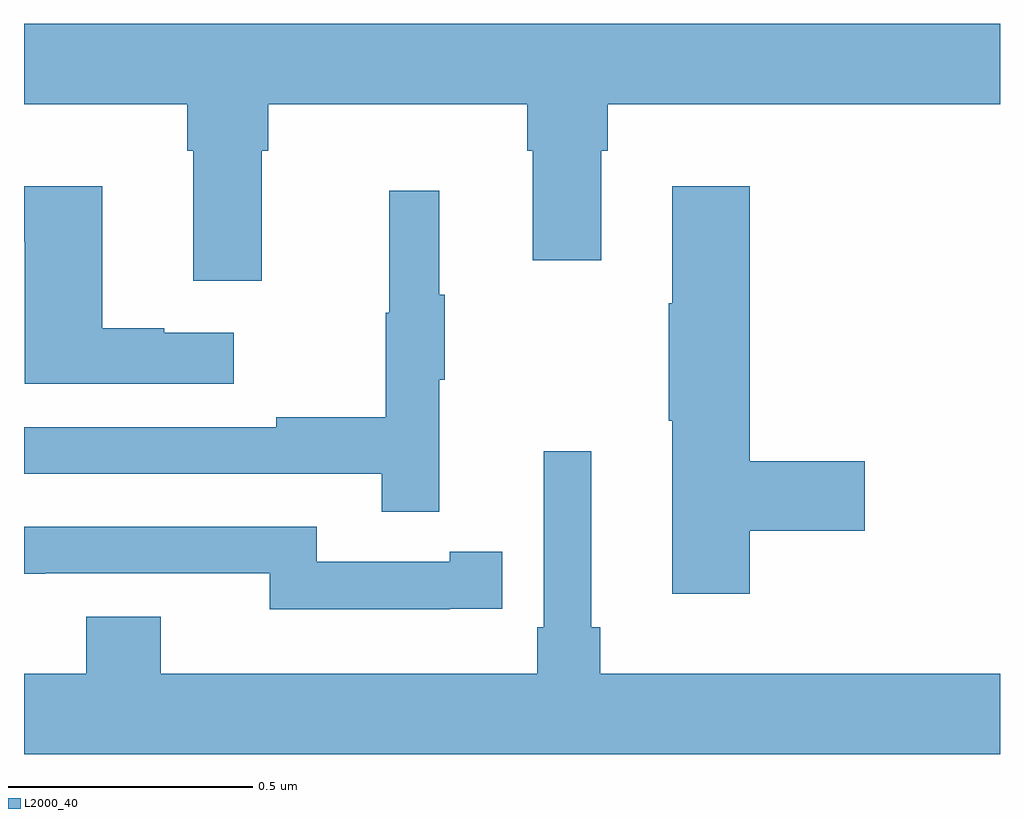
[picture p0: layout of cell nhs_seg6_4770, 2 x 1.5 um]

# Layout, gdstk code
import gdstk
lib = gdstk.Library(unit=1e-6, precision=1e-09)
def P(c, l, *ps):  # polygons
    for p in ps: c.add(gdstk.Polygon(p, *l))
L2000_40 = (2000, 40)

nhs_seg6_4770 = lib.new_cell('nhs_seg6_4770')
P(nhs_seg6_4770, L2000_40, [(174.487,949.904),(174.5,949.904),(174.5,950),(175.031,950),(175.031,949.904),(175.043,949.904),(175.043,949.68),(175.183,949.68),(175.183,949.904),(175.196,949.904),(175.196,950),(176,950),(176,950.164),(174,950.164),(174,950),(174.335,950),(174.335,949.904),(174.347,949.904),(174.347,949.638),(174.487,949.638)],
  [(174.43,949.531),(174.287,949.531),(174.287,949.541),(174.16,949.541),(174.16,949.831),(174,949.831),(174,949.718),(174.002,949.718),(174.002,949.427),(174.43,949.427)],
  [(175.487,949.126),(175.723,949.126),(175.723,949.268),(175.487,949.268),(175.487,949.831),(175.328,949.831),(175.328,949.592),(175.321,949.592),(175.321,949.351),(175.328,949.351),(175.328,948.996),(175.487,948.996)],
  [(174.851,949.435),(174.862,949.435),(174.862,949.609),(174.851,949.609),(174.851,949.822),(174.748,949.822),(174.748,949.572),(174.741,949.572),(174.741,949.358),(174.517,949.358),(174.517,949.338),(174,949.338),(174,949.242),(174.733,949.242),(174.733,949.164),(174.851,949.164)],
  [(176,948.832),(175.181,948.832),(175.181,948.928),(175.162,948.928),(175.162,949.288),(175.065,949.288),(175.065,948.928),(175.052,948.928),(175.052,948.832),(174.28,948.832),(174.28,948.949),(174.128,948.949),(174.128,948.832),(174,948.832),(174,948.668),(176,948.668)],
  [(174.872,948.966),(174.98,948.966),(174.98,949.082),(174.872,949.082),(174.872,949.062),(174.6,949.062),(174.6,949.134),(174,949.134),(174,949.037),(174.044,949.037),(174.044,949.038),(174.504,949.038),(174.504,948.965),(174.872,948.965)])

lib.write_gds('nhs_seg6_4770.gds')
